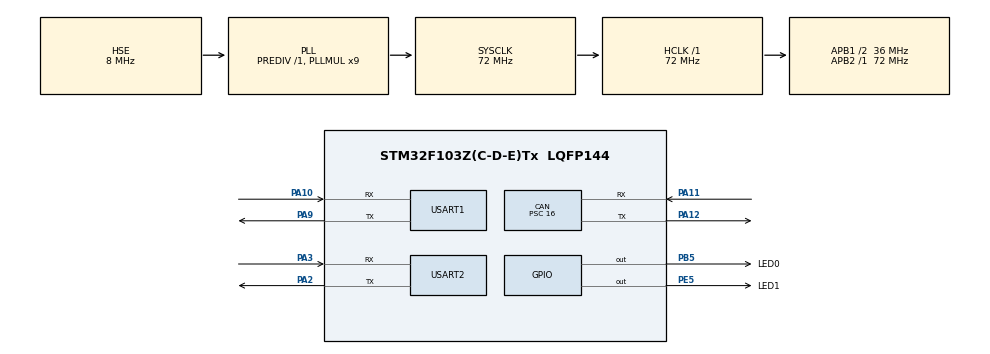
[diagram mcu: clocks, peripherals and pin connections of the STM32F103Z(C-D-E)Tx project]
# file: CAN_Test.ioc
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CAN.AWUM=DISABLE
CAN.BS1=CAN_BS1_9TQ
CAN.BS2=CAN_BS2_8TQ
CAN.CalculateBaudRate=125000
CAN.CalculateTimeBit=8000
CAN.CalculateTimeQuantum=444.44444444444446
CAN.Mode=CAN_MODE_NORMAL
CAN.Prescaler=16
Dma.Request0=USART2_RX
Dma.Request1=USART2_TX
Dma.Request2=USART1_RX
Dma.Request3=USART1_TX
Dma.USART1_RX.2.Direction=DMA_PERIPH_TO_MEMORY
Dma.USART1_RX.2.Instance=DMA1_Channel5
Dma.USART1_RX.2.MemDataAlignment=DMA_MDATAALIGN_BYTE
Dma.USART1_RX.2.MemInc=DMA_MINC_ENABLE
Dma.USART1_RX.2.Mode=DMA_NORMAL
Dma.USART1_RX.2.PeriphDataAlignment=DMA_PDATAALIGN_BYTE
Dma.USART1_RX.2.PeriphInc=DMA_PINC_DISABLE
Dma.USART1_RX.2.Priority=DMA_PRIORITY_LOW
Dma.USART1_TX.3.Direction=DMA_MEMORY_TO_PERIPH
Dma.USART1_TX.3.Instance=DMA1_Channel4
Dma.USART1_TX.3.MemDataAlignment=DMA_MDATAALIGN_BYTE
Dma.USART1_TX.3.MemInc=DMA_MINC_ENABLE
Dma.USART1_TX.3.Mode=DMA_NORMAL
Dma.USART1_TX.3.PeriphDataAlignment=DMA_PDATAALIGN_BYTE
Dma.USART1_TX.3.PeriphInc=DMA_PINC_DISABLE
Dma.USART1_TX.3.Priority=DMA_PRIORITY_LOW
Dma.USART2_RX.0.Direction=DMA_PERIPH_TO_MEMORY
Dma.USART2_RX.0.Instance=DMA1_Channel6
Dma.USART2_RX.0.MemDataAlignment=DMA_MDATAALIGN_BYTE
Dma.USART2_RX.0.MemInc=DMA_MINC_ENABLE
Dma.USART2_RX.0.Mode=DMA_NORMAL
Dma.USART2_RX.0.PeriphDataAlignment=DMA_PDATAALIGN_BYTE
Dma.USART2_RX.0.PeriphInc=DMA_PINC_DISABLE
Dma.USART2_RX.0.Priority=DMA_PRIORITY_LOW
Dma.USART2_TX.1.Direction=DMA_MEMORY_TO_PERIPH
Dma.USART2_TX.1.Instance=DMA1_Channel7
Dma.USART2_TX.1.MemDataAlignment=DMA_MDATAALIGN_BYTE
Dma.USART2_TX.1.MemInc=DMA_MINC_ENABLE
Dma.USART2_TX.1.Mode=DMA_NORMAL
Dma.USART2_TX.1.PeriphDataAlignment=DMA_PDATAALIGN_BYTE
Dma.USART2_TX.1.PeriphInc=DMA_PINC_DISABLE
Dma.USART2_TX.1.Priority=DMA_PRIORITY_LOW
Mcu.Family=STM32F1
Mcu.Name=STM32F103Z(C-D-E)Tx
Mcu.Package=LQFP144
NVIC.CAN1_RX1_IRQn=true\:0\:0\:false\:false\:true\:true\:true\:true
NVIC.DMA1_Channel4_IRQn=true\:0\:0\:false\:false\:true\:false\:true\:true
NVIC.DMA1_Channel5_IRQn=true\:0\:0\:false\:false\:true\:false\:true\:true
NVIC.DMA1_Channel6_IRQn=true\:0\:0\:false\:false\:true\:false\:true\:true
NVIC.DMA1_Channel7_IRQn=true\:0\:0\:false\:false\:true\:false\:true\:true
NVIC.PriorityGroup=NVIC_PRIORITYGROUP_4
NVIC.USART2_IRQn=true\:0\:0\:false\:false\:true\:true\:true\:true
NVIC.USB_HP_CAN1_TX_IRQn=true\:0\:0\:false\:false\:true\:true\:true\:true
NVIC.USB_LP_CAN1_RX0_IRQn=true\:0\:0\:false\:false\:true\:true\:true\:true
OSC_IN.Mode=HSE-External-Oscillator
OSC_IN.Signal=RCC_OSC_IN
OSC_OUT.Mode=HSE-External-Oscillator
OSC_OUT.Signal=RCC_OSC_OUT
PA10.Mode=Asynchronous
PA10.Signal=USART1_RX
PA11.GPIO_PuPd=GPIO_PULLUP
PA11.Mode=CAN_Activate
PA11.Signal=CAN_RX
PA12.Mode=CAN_Activate
PA12.Signal=CAN_TX
PA13.Mode=Serial_Wire
PA13.Signal=SYS_JTMS-SWDIO
PA14.Mode=Serial_Wire
PA14.Signal=SYS_JTCK-SWCLK
PA2.Mode=Asynchronous
PA2.Signal=USART2_TX
PA3.Mode=Asynchronous
PA3.Signal=USART2_RX
PA9.Mode=Asynchronous
PA9.Signal=USART1_TX
PB5.GPIO_Label=LED0
PB5.GPIO_PuPd=GPIO_PULLUP
PB5.Signal=GPIO_Output
PE5.GPIO_Label=LED1
PE5.GPIO_PuPd=GPIO_PULLUP
PE5.Signal=GPIO_Output
ProjectManager.HeapSize=0x200
ProjectManager.StackSize=0x400
ProjectManager.TargetToolchain=MDK-ARM V5.32
RCC.AHBFreq_Value=72000000
RCC.APB1CLKDivider=RCC_HCLK_DIV2
RCC.APB1Freq_Value=36000000
RCC.APB1TimFreq_Value=72000000
RCC.APB2Freq_Value=72000000
RCC.APB2TimFreq_Value=72000000
RCC.HCLKFreq_Value=72000000
RCC.PLLMUL=RCC_PLL_MUL9
RCC.PLLSourceVirtual=RCC_PLLSOURCE_HSE
RCC.SYSCLKFreq_VALUE=72000000
RCC.SYSCLKSource=RCC_SYSCLKSOURCE_PLLCLK
RCC.USBFreq_Value=72000000
USART1.VirtualMode=VM_ASYNC
USART2.VirtualMode=VM_ASYNC
board=custom

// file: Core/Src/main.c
/* USER CODE BEGIN Header */
/**
 ******************************************************************************
 * @file           : main.c
 * @brief          : Main program body
 ******************************************************************************
 * @attention
 *
 * Copyright (c) 2025 STMicroelectronics.
 * All rights reserved.
 *
 * This software is licensed under terms that can be found in the LICENSE file
 * in the root directory of this software component.
 * If no LICENSE file comes with this software, it is provided AS-IS.
 *
 ******************************************************************************
 */
/* USER CODE END Header */
#include "main.h"
#include "can.h"
#include "dma.h"
#include "usart.h"
#include "gpio.h"

/* USER CODE BEGIN Includes */

#include "stdarg.h"
#include "stdio.h"
#include "stm32f1xx_hal_can.h"

/* USER CODE END Includes */

/* USER CODE BEGIN PD */

#define CAN_FILTER(x) ((x) << 3)

#define CAN_FIFO_0 (0 << 2)
#define CAN_FIFO_1 (1 << 2)

#define CANSTDID (0 << 1) // 标准ID
#define CANEXTID (1 << 1) // 扩展ID

#define CANRTR_DATA (0 << 0)   // 数据帧
#define CANRTR_REMOTE (1 << 0) // 远程帧

/* USER CODE END PD */

void SystemClock_Config(void);
/* USER CODE BEGIN PFP */

void Uart_printf(UART_HandleTypeDef *huart, char *format, ...) // 串口打印函数
{
    static char buf[1024]; // 定义临时数组，根据实际发送大小微�??
    va_list args;
    va_start(args, format);
    uint32_t len = vsnprintf((char *)buf, sizeof(buf), (char *)format, args);
    va_end(args);
    HAL_UART_Transmit_DMA(huart, (uint8_t *)buf, len);
}

void Can_Init(CAN_HandleTypeDef *hcan)
{
    HAL_CAN_Start(hcan);
    __HAL_CAN_ENABLE_IT(hcan, CAN_IT_RX_FIFO0_MSG_PENDING); // 使能接收中断
    __HAL_CAN_ENABLE_IT(hcan, CAN_IT_RX_FIFO1_MSG_PENDING); // 使能接收中断
}

HAL_StatusTypeDef Can_SendData(CAN_HandleTypeDef *hcan, uint16_t ID, uint8_t *Data, uint16_t Length)
{
    CAN_TxHeaderTypeDef TxHeader;
    uint32_t TxMailbox;

    TxHeader.StdId = ID; // 设置标准ID
    TxHeader.ExtId = 0;
    TxHeader.IDE = 0;
    TxHeader.RTR = 0;
    TxHeader.DLC = Length;

    return HAL_CAN_AddTxMessage(hcan, &TxHeader, Data, &TxMailbox);
}

void Can_Filter_Config(CAN_HandleTypeDef *hcan, uint8_t Object_Para, uint32_t ID, uint32_t Mask_ID)
{
    CAN_FilterTypeDef Can_Filter;

    if ((Object_Para & 0x02)) // 标准帧
    {
        Can_Filter.FilterIdHigh = ID << 3 >> 16;
        Can_Filter.FilterIdLow = ID << 3 | ((Object_Para & 0x03) << 1);
        Can_Filter.FilterMaskIdHigh = Mask_ID << 3 >> 16;
        Can_Filter.FilterMaskIdLow = Mask_ID << 3 | ((Object_Para & 0x03) << 1);
    }
    else // 遥控帧
    {
        Can_Filter.FilterIdHigh = ID << 5;
        Can_Filter.FilterIdLow = ((Object_Para & 0x03) << 1);
        Can_Filter.FilterMaskIdHigh = Mask_ID << 5;
        Can_Filter.FilterMaskIdLow = ((Object_Para & 0x03) << 1);
    }

    Can_Filter.FilterBank = Object_Para >> 3;
    Can_Filter.FilterFIFOAssignment = (Object_Para >> 2) & 0x01;
    Can_Filter.FilterActivation = ENABLE;
    Can_Filter.FilterMode = CAN_FILTERMODE_IDMASK;
    Can_Filter.FilterScale = CAN_FILTERSCALE_32BIT;
    Can_Filter.SlaveStartFilterBank = 14;
    HAL_CAN_ConfigFilter(hcan, &Can_Filter);
}

void HAL_CAN_RxFifo0MsgPendingCallback(CAN_HandleTypeDef *hcan)
{
    CAN_RxHeaderTypeDef CAN_Rx;
    uint8_t Data[8] = {0};
    HAL_CAN_GetRxMessage(hcan, CAN_FIFO_0, &CAN_Rx, Data);

    if (Data[0] == 0x01 && Data[1] == 0x02 && Data[2] == 0x03 && Data[3] == 0x04 && Data[4] == 0x05 && Data[5] == 0x06 && Data[6] == 0x07 && Data[7] == 0x08)
    {
        HAL_GPIO_TogglePin(GPIOE, GPIO_PIN_5);
    }
}

/* USER CODE END PFP */

int main(void)
{

  /* MCU Configuration--------------------------------------------------------*/

  /* Reset of all peripherals, Initializes the Flash interface and the Systick. */
  HAL_Init();

  /* Configure the system clock */
  SystemClock_Config();

  /* Initialize all configured peripherals */
  MX_GPIO_Init();
  MX_DMA_Init();
  MX_USART2_UART_Init();
  MX_USART1_UART_Init();
  MX_CAN_Init();
  /* USER CODE BEGIN 2 */

    Can_Init(&hcan);
    Can_Filter_Config(&hcan, CAN_FILTER(13) | CAN_FIFO_0 | CANSTDID | CANRTR_DATA, 0x124, 0x7FE);

    // HAL_GPIO_WritePin(GPIOE, GPIO_PIN_5, GPIO_PIN_RESET);
    // HAL_GPIO_WritePin(GPIOB, GPIO_PIN_5, GPIO_PIN_RESET);
    uint8_t Data[8] = {0x01, 0x02, 0x03, 0x04, 0x05, 0x06, 0x07, 0x08};
  /* USER CODE END 2 */

  /* Infinite loop */
  /* USER CODE BEGIN WHILE */
    while (1)
    {
        if (Can_SendData(&hcan, 0x124, Data, 8) == HAL_ERROR)
        {
            HAL_GPIO_TogglePin(GPIOE, GPIO_PIN_5);
        }
        HAL_Delay(1000); // 发送间隔1秒
    /* USER CODE END WHILE */

    }
}

void SystemClock_Config(void)
{
  RCC_OscInitTypeDef RCC_OscInitStruct = {0};
  RCC_ClkInitTypeDef RCC_ClkInitStruct = {0};

  /** Initializes the RCC Oscillators according to the specified parameters
  * in the RCC_OscInitTypeDef structure.
  */
  RCC_OscInitStruct.OscillatorType = RCC_OSCILLATORTYPE_HSE;
  RCC_OscInitStruct.HSEState = RCC_HSE_ON;
  RCC_OscInitStruct.HSEPredivValue = RCC_HSE_PREDIV_DIV1;
  RCC_OscInitStruct.HSIState = RCC_HSI_ON;
  RCC_OscInitStruct.PLL.PLLState = RCC_PLL_ON;
  RCC_OscInitStruct.PLL.PLLSource = RCC_PLLSOURCE_HSE;
  RCC_OscInitStruct.PLL.PLLMUL = RCC_PLL_MUL9;
  if (HAL_RCC_OscConfig(&RCC_OscInitStruct) != HAL_OK)
  {
    Error_Handler();
  }

  /** Initializes the CPU, AHB and APB buses clocks
  */
  RCC_ClkInitStruct.ClockType = RCC_CLOCKTYPE_HCLK|RCC_CLOCKTYPE_SYSCLK
                              |RCC_CLOCKTYPE_PCLK1|RCC_CLOCKTYPE_PCLK2;
  RCC_ClkInitStruct.SYSCLKSource = RCC_SYSCLKSOURCE_PLLCLK;
  RCC_ClkInitStruct.AHBCLKDivider = RCC_SYSCLK_DIV1;
  RCC_ClkInitStruct.APB1CLKDivider = RCC_HCLK_DIV2;
  RCC_ClkInitStruct.APB2CLKDivider = RCC_HCLK_DIV1;

  if (HAL_RCC_ClockConfig(&RCC_ClkInitStruct, FLASH_LATENCY_2) != HAL_OK)
  {
    Error_Handler();
  }
}

void Error_Handler(void)
{
    __disable_irq();
    while (1)
    {
    }
}
